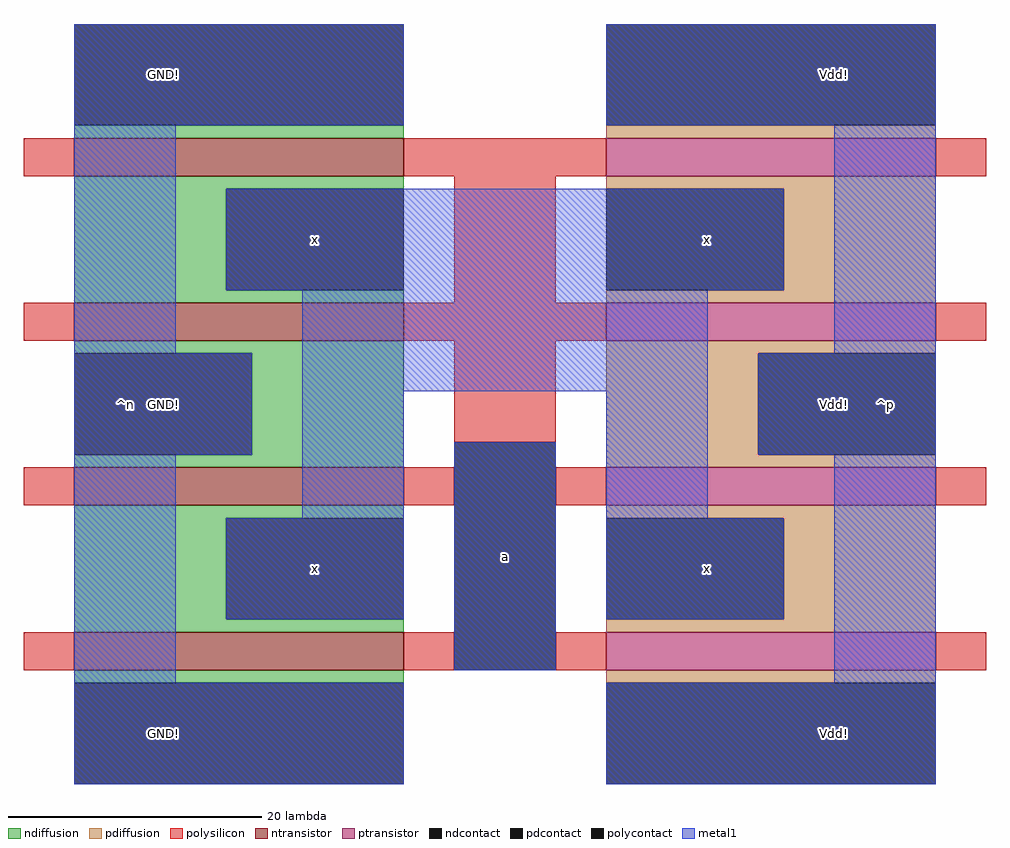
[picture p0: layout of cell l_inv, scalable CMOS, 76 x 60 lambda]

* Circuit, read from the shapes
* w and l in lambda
.subckt l_inv GND! Vdd! a x
M1 x a GND! VSUBS nfet w=26 l=3 m=4
M2 x a Vdd! NWELL pfet w=26 l=3 m=4
.ends

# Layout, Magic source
magic
tech scmos
<< ndiffusion >>
rect 401 536 427 537
rect 401 532 427 533
rect 401 524 413 532
rect 401 523 427 524
rect 401 519 427 520
rect 415 511 427 519
rect 401 510 427 511
rect 401 506 427 507
rect 401 498 413 506
rect 401 497 427 498
rect 401 493 427 494
<< pdiffusion >>
rect 443 536 469 537
rect 443 532 469 533
rect 457 524 469 532
rect 443 523 469 524
rect 443 519 469 520
rect 443 511 455 519
rect 443 510 469 511
rect 443 506 469 507
rect 457 498 469 506
rect 443 497 469 498
rect 443 493 469 494
<< ntransistor >>
rect 401 533 427 536
rect 401 520 427 523
rect 401 507 427 510
rect 401 494 427 497
<< ptransistor >>
rect 443 533 469 536
rect 443 520 469 523
rect 443 507 469 510
rect 443 494 469 497
<< polysilicon >>
rect 397 533 401 536
rect 427 533 443 536
rect 469 533 473 536
rect 431 523 439 533
rect 397 520 401 523
rect 427 520 443 523
rect 469 520 473 523
rect 431 512 439 520
rect 397 507 401 510
rect 427 507 431 510
rect 397 494 401 497
rect 427 494 431 497
rect 439 507 443 510
rect 469 507 473 510
rect 439 494 443 497
rect 469 494 473 497
<< ndcontact >>
rect 401 537 427 545
rect 413 524 427 532
rect 401 511 415 519
rect 413 498 427 506
rect 401 485 427 493
<< pdcontact >>
rect 443 537 469 545
rect 443 524 457 532
rect 455 511 469 519
rect 443 498 457 506
rect 443 485 469 493
<< polycontact >>
rect 431 494 439 512
<< metal1 >>
rect 401 537 427 545
rect 443 537 469 545
rect 401 519 409 537
rect 413 524 457 532
rect 401 511 415 519
rect 419 516 451 524
rect 461 519 469 537
rect 401 493 409 511
rect 419 506 427 516
rect 413 498 427 506
rect 431 494 439 512
rect 443 506 451 516
rect 455 511 469 519
rect 443 498 457 506
rect 461 493 469 511
rect 401 485 427 493
rect 443 485 469 493
<< labels >>
rlabel ndcontact 408 489 408 489 1 GND!
rlabel ndcontact 408 515 408 515 5 GND!
rlabel ndcontact 408 541 408 541 5 GND!
rlabel ndcontact 420 528 420 528 1 x
rlabel ndcontact 420 502 420 502 1 x
rlabel pdcontact 451 528 451 528 1 x
rlabel pdcontact 451 502 451 502 1 x
rlabel pdcontact 461 489 461 489 1 Vdd!
rlabel pdcontact 461 515 461 515 5 Vdd!
rlabel pdcontact 461 541 461 541 5 Vdd!
rlabel space 396 484 414 546 7 ^n
rlabel space 456 484 474 546 3 ^p
rlabel metal1 435 503 435 503 1 a
<< end >>
